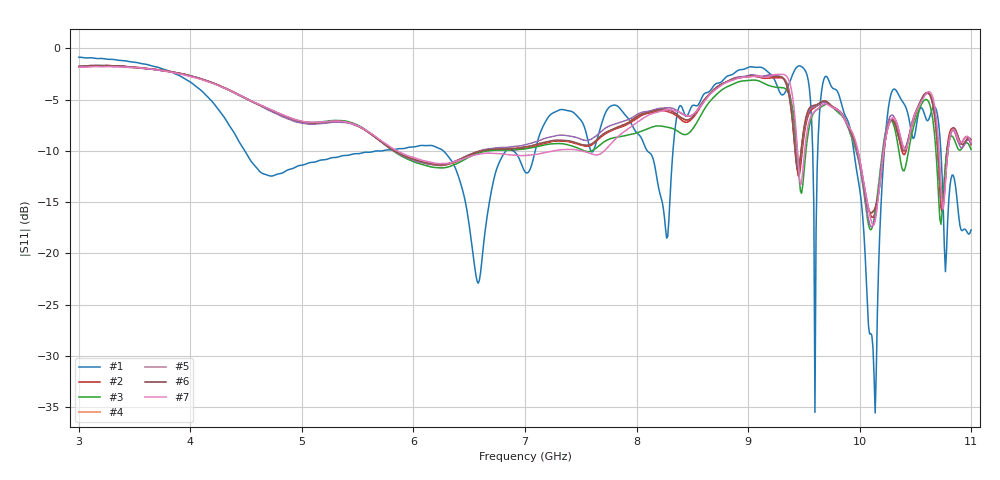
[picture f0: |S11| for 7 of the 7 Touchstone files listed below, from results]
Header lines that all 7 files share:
# GHz S DB R 50
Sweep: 3 GHz to 11 GHz
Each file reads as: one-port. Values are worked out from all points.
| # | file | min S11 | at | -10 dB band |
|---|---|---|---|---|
| 1 | stage1.s1p | -35.6 dB | 10.14 GHz | 1.234 GHz wide |
| 2 | stage3_r0.0mm.s1p | -16.5 dB | 10.12 GHz | 814.5 MHz wide |
| 3 | stage3_r3.0mm.s1p | -17.7 dB | 10.1 GHz | 850.7 MHz wide |
| 4 | stage3_r5.0mm.s1p | -16.0 dB | 10.1 GHz | 782.6 MHz wide |
| 5 | stage3_r5.0mm_d10.5mm.s1p | -17.4 dB | 10.11 GHz | 765.9 MHz wide |
| 6 | stage3_r5.0mm_d21.5mm.s1p | -16.1 dB | 10.1 GHz | 788.7 MHz wide |
| 7 | stage3_r10.0mm.s1p | -17.3 dB | 10.12 GHz | 1.408 GHz wide |
